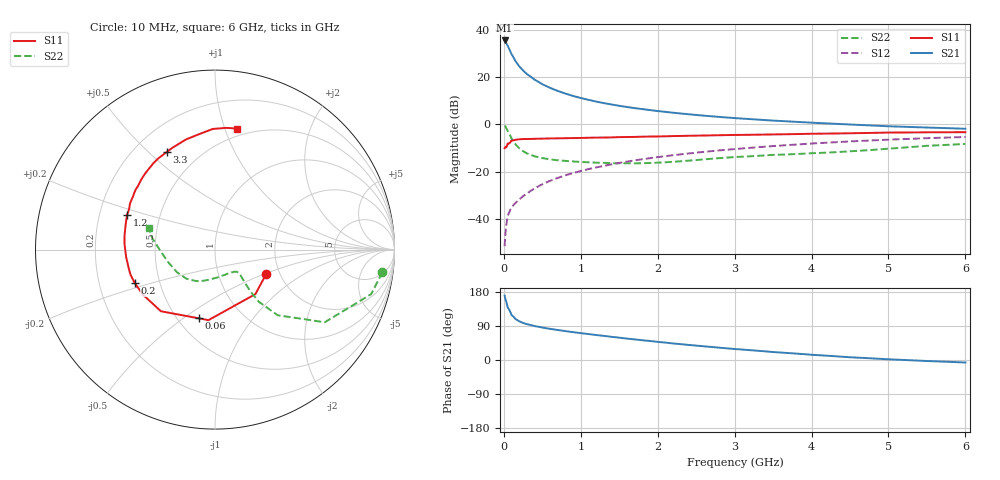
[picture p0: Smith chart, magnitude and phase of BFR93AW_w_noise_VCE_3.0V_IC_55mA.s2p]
! (c) 2017  Infineon Technologies AG, Munich
! Infineon Technologies  Discrete & RF Semiconductors
! BFR93AW
! VCE =  3.0 V,  IC =  55 mA
! Common Emitter S-Parameters:  Jan 2017
# GHz  S  MA  R  50
!  f  S11  S21  S12  S22
! GHz  MAG  ANG  MAG  ANG  MAG  ANG  MAG  ANG
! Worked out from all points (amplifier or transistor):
!   77 points, 10 MHz to 6 GHz, reference 50 ohm
!   highest |S21| = 35.4 dB at 10 MHz (marker M1)
!   |S21| within 3 dB of that: start of sweep to 61.36 MHz
!   unconditionally stable (mu >= 1): 370.4 MHz to 2.146 GHz
!   at 130 MHz: K = 0.69, MSG = 30.9 dB, |S12| = -33.9 dB
!   at 2.2 GHz: K = 1.00, MSG = 9.0 dB, |S12| = -13.0 dB
!   at 6 GHz: K = 0.91, MSG = 1.7 dB, |S12| = -5.3 dB
!   lowest NFmin = 2.42 dB at 450 MHz
!   S11 on the Smith chart (normalised r, x): 10 MHz: 1.70, -0.51; 60 MHz: 0.63, -0.57; 200 MHz: 0.36, -0.18; 1.2 GHz: 0.32, +0.17; 3.3 GHz: 0.33, +0.57; 6 GHz: 0.43, +1.11
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0.01  0.316 -25.3  58.94 170.1  0.0027 82.5  0.9412 -7.7
0.02  0.335 -47.8  57.17 161.0  0.0048 78.2  0.9049 -15.9
0.05  0.3947 -95.3  45.55 138.7  0.0116 65.1  0.7333 -33.5
0.06  0.3934 -103.1  42.18 135.9  0.0128 63.9  0.6857 -35.4
0.1  0.457 -131.3  30.29 118.6  0.0177 60.7  0.5061 -46.3
0.15  0.4733 -147.9  21.79 108.4  0.0219 61.7  0.3817 -49.9
0.2  0.4846 -157.3  16.83 102.2  0.026 64.6  0.3135 -49.8
0.25  0.4913 -163.7  13.7 97.7  0.0306 65.3  0.2727 -48.8
0.3  0.4918 -168.3  11.51 94.6  0.0349 68.0  0.2441 -47.7
0.4  0.4967 -175.0  8.758 89.5  0.0446 70.6  0.2125 -45.9
0.5  0.5003 -179.9  7.039 85.6  0.0545 71.6  0.1946 -44.8
0.7  0.5084 172.7  5.083 79.2  0.074 73.0  0.1751 -45.2
0.9  0.5142 166.3  3.977 73.5  0.0939 72.4  0.1654 -48.2
1.1  0.5223 160.9  3.293 68.5  0.1142 71.8  0.159 -52.5
1.2  0.5266 158.4  3.033 65.9  0.1235 71.2  0.156 -55.1
1.6  0.5416 149.1  2.328 56.5  0.1642 68.2  0.1515 -68.9
2.1  0.561 138.6  1.836 45.9  0.2139 63.9  0.1589 -90.0
3.1  0.6007 119.8  1.325 27.6  0.3109 53.6  0.2083 -124.1
3.3  0.6066 116.3  1.262 24.4  0.3296 51.5  0.217 -129.6
4.1  0.6369 103.3  1.068 12.6  0.4029 42.6  0.2497 -152.6
5.1  0.6733 89.8  0.902 1.0  0.4832 31.3  0.3156 178.1
6  0.6858 79.5  0.809 -6.6  0.5428 21.1  0.387 161.9
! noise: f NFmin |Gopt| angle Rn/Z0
0.45  2.42  0.28  -177  0.18
0.9  2.73  0.33  -166  0.19
1.9  3.88  0.54  -131  0.46
2.4  4.64  0.58  -122  0.86
